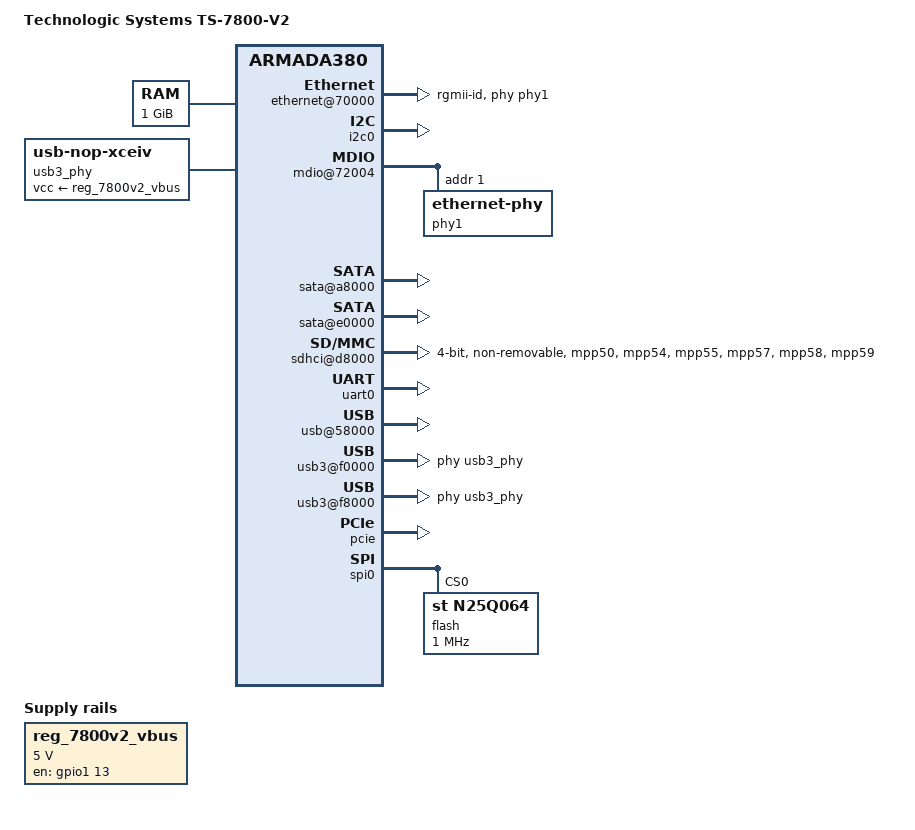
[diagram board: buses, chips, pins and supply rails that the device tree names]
/*
 * Device Tree file for Technologic Systems TS-7800-V2
 *
 *  Copyright (C) 2017 Technologic Systems
 *
 * Mark Featherston <mark@embeddedarm.com>
 *
 * This file is dual-licensed: you can use it either under the terms
 * of the GPL or the X11 license, at your option. Note that this dual
 * licensing only applies to this file, and not this project as a
 * whole.
 *
 *  a) This file is licensed under the terms of the GNU General Public
 *     License version 2.  This program is licensed "as is" without
 *     any warranty of any kind, whether express or implied.
 *
 * Or, alternatively,
 *
 *  b) Permission is hereby granted, free of charge, to any person
 *     obtaining a copy of this software and associated documentation
 *     files (the "Software"), to deal in the Software without
 *     restriction, including without limitation the rights to use,
 *     copy, modify, merge, publish, distribute, sublicense, and/or
 *     sell copies of the Software, and to permit persons to whom the
 *     Software is furnished to do so, subject to the following
 *     conditions:
 *
 *     The above copyright notice and this permission notice shall be
 *     included in all copies or substantial portions of the Software.
 *
 *     THE SOFTWARE IS PROVIDED "AS IS", WITHOUT WARRANTY OF ANY KIND,
 *     EXPRESS OR IMPLIED, INCLUDING BUT NOT LIMITED TO THE WARRANTIES
 *     OF MERCHANTABILITY, FITNESS FOR A PARTICULAR PURPOSE AND
 *     NONINFRINGEMENT. IN NO EVENT SHALL THE AUTHORS OR COPYRIGHT
 *     HOLDERS BE LIABLE FOR ANY CLAIM, DAMAGES OR OTHER LIABILITY,
 *     WHETHER IN AN ACTION OF CONTRACT, TORT OR OTHERWISE, ARISING
 *     FROM, OUT OF OR IN CONNECTION WITH THE SOFTWARE OR THE USE OR
 *     OTHER DEALINGS IN THE SOFTWARE.
 */

/dts-v1/;
#include "armada-385.dtsi"

#include <dt-bindings/gpio/gpio.h>

/ {
	model = "Technologic Systems TS-7800-V2";
	compatible = "technologic,a385-ts7800-v2", "marvell,armada385", "marvell,armada380";

	aliases {
		ethernet1 = &eth0;
		spi0 = &spi0;
	};

	chosen {
		stdout-path = "serial0:115200n8";
	};

	memory {
		device_type = "memory";
		reg = <0x00000000 0x40000000>; /* 1GB */
	};

	soc {

		ranges = <MBUS_ID(0xf0, 0x01) 0 0xf1000000 0x100000
			  MBUS_ID(0x01, 0x1d) 0 0xfff00000 0x100000
			  MBUS_ID(0x09, 0x19) 0 0xf1100000 0x10000
			  MBUS_ID(0x09, 0x15) 0 0xf1110000 0x10000
			  MBUS_ID(0x0c, 0x04) 0 0xf1200000 0x100000>;

		internal-regs {
			bm@c8000 {
				status = "okay";
			};

			/* magjack/sfp port 0 */
			ethernet@70000 {
				pinctrl-names = "default";
				pinctrl-0 = <&ge0_rgmii_pins>;
				status = "okay";
				phy = <&phy1>;
				phy-mode = "rgmii-id";
				bm,pool-long = <0>;
				bm,pool-short = <3>;
			};
			
			rtc@a3800 {
			   status = "okay";
			};

			i2c0: i2c@11000 {
				pinctrl-names = "default";
				pinctrl-0 = <&i2c0_pins>;
				status = "okay";
			};

			mdio@72004 {
				pinctrl-names = "default";
				pinctrl-0 = <&mdio_pins>;

				phy1: ethernet-phy@1 {
					reg = <1>;
				};
			};

			pinctrl: pinctrl@18000 {
				sdhci_pins0: sdhci-pins0 {
					marvell,pins = "mpp50", "mpp54", "mpp55",
						       "mpp57", "mpp58", "mpp59";
					marvell,function = "sd0";
				};
				vbus_pins0: vbus-pins0 {
					marvell,pins = "mpp45";
					marvell,function = "gpio";
				};
			};

			sata@a8000 {
				status = "okay";
			};

			sata@e0000 {
				status = "okay";
			};

			sdhci@d8000 {
				bus-width = <4>;
				no-1-8-v;
				non-removable;
				pinctrl-0 = <&sdhci_pins0>;
				pinctrl-names = "default";
				status = "okay";
			};

			uart0: serial@12000 {
				pinctrl-names = "default";
				pinctrl-0 = <&uart0_pins>;
				status = "okay";
				u-boot,dm-pre-reloc;
			};

			usb@58000 {                     /* USB 2.0 Host/Device port 0 */
				status = "okay";
			};

			usb3@f0000 {                    /* USB 3.0 Host Port 0 */
				status = "okay";
				usb-phy = <&usb3_phy>;
			};

			usb3@f8000 {                    /* USB 3.0 Host Port 1 */
				status = "okay";
				usb-phy = <&usb3_phy>;
			};
		};

		bm-bppi {
			status = "okay";
		};

		pcie {
			status = "okay";

			/* full size PCIe connector */
			pcie@1,0 {
				/* Port 0, Lane 0 */
				status = "okay";
			};

			/* M.2 WIFI */
			pcie@2,0 {
				/* Port 1, Lane 0 */
				status = "okay";
			};

			/* FPGA */
			pcie@1,2 {
				/* Port 2, Lane 0 */
				status = "okay";
			};
		};
	};

	usb3_phy: usb3_phy {
		compatible = "usb-nop-xceiv";
		vcc-supply = <&reg_7800v2_vbus>;
	};

	/* EN_USB_HOST_5V is on MPP[45] */
	reg_7800v2_vbus: 7800v2-vbus {
		compatible = "regulator-fixed";
		pinctrl-names = "default";
		pinctrl-0 = <&vbus_pins0>;
		regulator-name = "7800v2-vbus";
		regulator-min-microvolt = <5000000>;
		regulator-max-microvolt = <5000000>;
		enable-active-high;
		gpio = <&gpio1 13 GPIO_ACTIVE_HIGH>;
	};
};

&spi0 {
	pinctrl-names = "default";
	pinctrl-0 = <&spi0_pins>;
	status = "okay";
	u-boot,dm-pre-reloc;

	flash: n25q064@0 {
		#address-cells = <1>;
		#size-cells = <1>;
		compatible = "st,n25q064";
		spi-max-frequency = <1000000>;
		reg = <0>;
		u-boot,dm-pre-reloc;
	};
};
